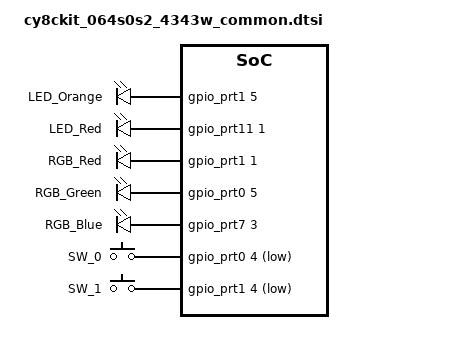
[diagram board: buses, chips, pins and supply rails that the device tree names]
/*
 * Copyright (c) 2021 Cypress Semiconductor Corporation.
 * SPDX-License-Identifier: Apache-2.0
 */

/ {
	aliases {
		led0 = &user_rgb_green;
		sw0 = &user_bt;
	};

	leds {
		compatible = "gpio-leds";
		user_led: led_Orange {
			label = "LED_Orange";
			gpios = <&gpio_prt1 5 GPIO_ACTIVE_HIGH>;
		};
		user_led2: led_Red {
			label = "LED_Red";
			gpios = <&gpio_prt11 1 GPIO_ACTIVE_HIGH>;
		};
		user_rgb_red: rgb_Red {
			label = "RGB_Red";
			gpios = <&gpio_prt1 1 GPIO_ACTIVE_HIGH>;
		};
		user_rgb_green: rgb_Green {
			label = "RGB_Green";
			gpios = <&gpio_prt0 5 GPIO_ACTIVE_HIGH>;
		};
		user_rgb_blue: rgb_Blue {
			label = "RGB_Blue";
			gpios = <&gpio_prt7 3 GPIO_ACTIVE_HIGH>;
		};
	};

	gpio_keys {
		compatible = "gpio-keys";

		user_bt: button_0 {
			label = "SW_0";
			gpios = <&gpio_prt0 4 (GPIO_PULL_UP | GPIO_ACTIVE_LOW)>;
		};
		user_bt2: button_2 {
			label = "SW_1";
			gpios = <&gpio_prt1 4 (GPIO_PULL_UP | GPIO_ACTIVE_LOW)>;
		};
	};
};

&gpio_prt0 {
	status = "okay";
};

&gpio_prt1 {
	status = "okay";
};

&gpio_prt3 {
	status = "okay";
};

&gpio_prt5 {
	status = "okay";
};

&gpio_prt6 {
	status = "okay";
};

&gpio_prt8 {
	status = "okay";
};

&gpio_prt9 {
	status = "okay";
};

&gpio_prt10 {
	status = "okay";
};

&gpio_prt11 {
	status = "okay";
};

&gpio_prt12 {
	status = "okay";
};

&gpio_prt13 {
	status = "okay";
};
